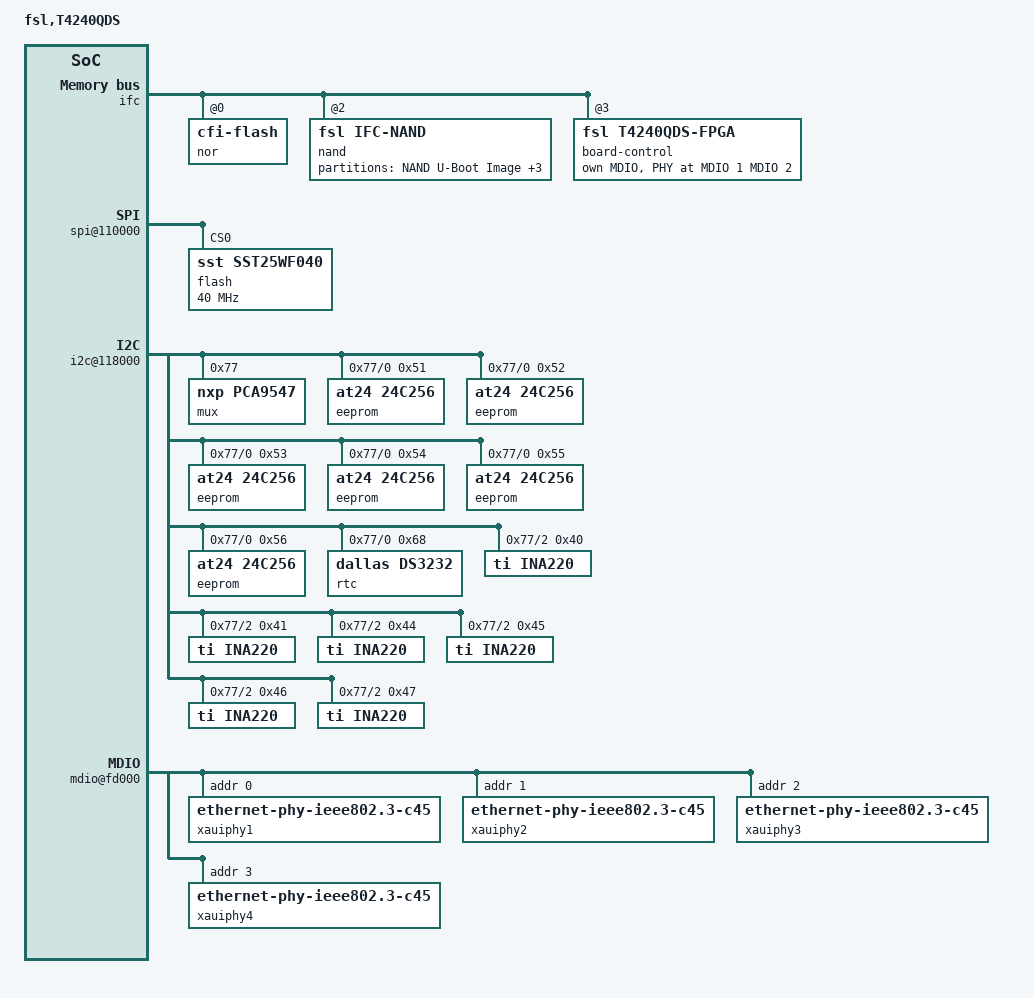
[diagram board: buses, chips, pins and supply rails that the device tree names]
/*
 * T4240QDS Device Tree Source
 *
 * Copyright 2012 - 2015 Freescale Semiconductor Inc.
 *
 * Redistribution and use in source and binary forms, with or without
 * modification, are permitted provided that the following conditions are met:
 *     * Redistributions of source code must retain the above copyright
 *       notice, this list of conditions and the following disclaimer.
 *     * Redistributions in binary form must reproduce the above copyright
 *       notice, this list of conditions and the following disclaimer in the
 *       documentation and/or other materials provided with the distribution.
 *     * Neither the name of Freescale Semiconductor nor the
 *       names of its contributors may be used to endorse or promote products
 *       derived from this software without specific prior written permission.
 *
 *
 * ALTERNATIVELY, this software may be distributed under the terms of the
 * GNU General Public License ("GPL") as published by the Free Software
 * Foundation, either version 2 of that License or (at your option) any
 * later version.
 *
 * THIS SOFTWARE IS PROVIDED BY Freescale Semiconductor ``AS IS'' AND ANY
 * EXPRESS OR IMPLIED WARRANTIES, INCLUDING, BUT NOT LIMITED TO, THE IMPLIED
 * WARRANTIES OF MERCHANTABILITY AND FITNESS FOR A PARTICULAR PURPOSE ARE
 * DISCLAIMED. IN NO EVENT SHALL Freescale Semiconductor BE LIABLE FOR ANY
 * DIRECT, INDIRECT, INCIDENTAL, SPECIAL, EXEMPLARY, OR CONSEQUENTIAL DAMAGES
 * (INCLUDING, BUT NOT LIMITED TO, PROCUREMENT OF SUBSTITUTE GOODS OR SERVICES;
 * LOSS OF USE, DATA, OR PROFITS; OR BUSINESS INTERRUPTION) HOWEVER CAUSED AND
 * ON ANY THEORY OF LIABILITY, WHETHER IN CONTRACT, STRICT LIABILITY, OR TORT
 * (INCLUDING NEGLIGENCE OR OTHERWISE) ARISING IN ANY WAY OUT OF THE USE OF THIS
 * SOFTWARE, EVEN IF ADVISED OF THE POSSIBILITY OF SUCH DAMAGE.
 */

/include/ "t4240si-pre.dtsi"

/ {
	model = "fsl,T4240QDS";
	compatible = "fsl,T4240QDS";
	#address-cells = <2>;
	#size-cells = <2>;
	interrupt-parent = <&mpic>;

	aliases{
		phy_rgmii1 = &phyrgmii1;
		phy_rgmii2 = &phyrgmii2;
		phy_sgmii3 = &phy3;
		phy_sgmii4 = &phy4;
		phy_sgmii11 = &phy11;
		phy_sgmii12 = &phy12;
		sgmii_phy11 = &sgmiiphy11;
		sgmii_phy12 = &sgmiiphy12;
		sgmii_phy13 = &sgmiiphy13;
		sgmii_phy14 = &sgmiiphy14;
		sgmii_phy21 = &sgmiiphy21;
		sgmii_phy22 = &sgmiiphy22;
		sgmii_phy23 = &sgmiiphy23;
		sgmii_phy24 = &sgmiiphy24;
		sgmii_phy31 = &sgmiiphy31;
		sgmii_phy32 = &sgmiiphy32;
		sgmii_phy33 = &sgmiiphy33;
		sgmii_phy34 = &sgmiiphy34;
		sgmii_phy41 = &sgmiiphy41;
		sgmii_phy42 = &sgmiiphy42;
		sgmii_phy43 = &sgmiiphy43;
		sgmii_phy44 = &sgmiiphy44;
		phy_xfi1 = &xfiphy1;
		phy_xfi2 = &xfiphy2;
		phy_xfi3 = &xfiphy3;
		phy_xfi4 = &xfiphy4;
		xfi_pcs_mdio1 = &xfimdio0;
		xfi_pcs_mdio2 = &xfimdio1;
		xfi_pcs_mdio3 = &xfimdio2;
		xfi_pcs_mdio4 = &xfimdio3;
		emi1_rgmii = &t4240mdio0;
		emi1_slot1 = &t4240mdio1;
		emi1_slot2 = &t4240mdio2;
		emi1_slot3 = &t4240mdio3;
		emi1_slot4 = &t4240mdio4;
	};

	ifc: localbus@ffe124000 {
		reg = <0xf 0xfe124000 0 0x2000>;
		ranges = <0 0 0xf 0xe8000000 0x08000000
			  2 0 0xf 0xff800000 0x00010000
			  3 0 0xf 0xffdf0000 0x00008000>;

		nor@0,0 {
			#address-cells = <1>;
			#size-cells = <1>;
			compatible = "cfi-flash";
			reg = <0x0 0x0 0x8000000>;

			bank-width = <2>;
			device-width = <1>;
		};

		nand@2,0 {
			#address-cells = <1>;
			#size-cells = <1>;
			compatible = "fsl,ifc-nand";
			reg = <0x2 0x0 0x10000>;

			partition@0 {
				/* This location must not be altered  */
				/* 1MB for u-boot Bootloader Image */
				reg = <0x0 0x00100000>;
				label = "NAND U-Boot Image";
				read-only;
			};

			partition@100000 {
				/* 1MB for DTB Image */
				reg = <0x00100000 0x00100000>;
				label = "NAND DTB Image";
			};

			partition@200000 {
				/* 10MB for Linux Kernel Image */
				reg = <0x00200000 0x00A00000>;
				label = "NAND Linux Kernel Image";
			};

			partition@C00000 {
				/* 500MB for Root file System Image */
				reg = <0x00c00000 0x1F400000>;
				label = "NAND RFS Image";
			};
		};

		board-control@3,0 {
			#address-cells = <1>;
			#size-cells = <1>;
			compatible = "fsl,t4240qds-fpga", "fsl,fpga-qixis";
			reg = <3 0 0x300>;
			ranges = <0 3 0 0x300>;

			mdio-mux-emi1 {
				#address-cells = <1>;
				#size-cells = <0>;
				compatible = "mdio-mux-mmioreg", "mdio-mux";
				mdio-parent-bus = <&mdio1>;
				reg = <0x54 1>;
				mux-mask = <0xe0>;

				t4240mdio0: mdio@0 {
					#address-cells = <1>;
					#size-cells = <0>;
					reg = <0>;

					phyrgmii1: ethernet-phy@1 {
						reg = <0x1>;
					};

					phyrgmii2: ethernet-phy@2 {
						reg = <0x2>;
					};
				};

				t4240mdio1: mdio@20 {
					#address-cells = <1>;
					#size-cells = <0>;
					reg = <0x20>;
					status = "disabled";

					phy1: ethernet-phy@0 {
						reg = <0x0>;
					};

					phy2: ethernet-phy@1 {
						reg = <0x1>;
					};

					phy3: ethernet-phy@2 {
						reg = <0x2>;
					};

					phy4: ethernet-phy@3 {
						reg = <0x3>;
					};

					sgmiiphy11: ethernet-phy@1c {
						reg = <0x1c>;
					};

					sgmiiphy12: ethernet-phy@1d {
						reg = <0x1d>;
					};

					sgmiiphy13: ethernet-phy@1e {
						reg = <0x1e>;
					};

					sgmiiphy14: ethernet-phy@1f {
						reg = <0x1f>;
					};
				};

				t4240mdio2: mdio@40 {
					#address-cells = <1>;
					#size-cells = <0>;
					reg = <0x40>;
					status = "disabled";

					phy5: ethernet-phy@4 {
						reg = <0x4>;
					};

					phy6: ethernet-phy@5 {
						reg = <0x5>;
					};

					phy7: ethernet-phy@6 {
						reg = <0x6>;
					};

					phy8: ethernet-phy@7 {
						reg = <0x7>;
					};

					sgmiiphy21: ethernet-phy@1c {
						reg = <0x1c>;
					};

					sgmiiphy22: ethernet-phy@1d {
						reg = <0x1d>;
					};

					sgmiiphy23: ethernet-phy@1e {
						reg = <0x1e>;
					};

					sgmiiphy24: ethernet-phy@1f {
						reg = <0x1f>;
					};
				};

				t4240mdio3: mdio@60 {
					#address-cells = <1>;
					#size-cells = <0>;
					reg = <0x60>;
					status = "disabled";

					phy9: ethernet-phy@8 {
						reg = <0x8>;
					};

					phy10: ethernet-phy@9 {
						reg = <0x9>;
					};

					phy11: ethernet-phy@a {
						reg = <0xa>;
					};

					phy12: ethernet-phy@b {
						reg = <0xb>;
					};

					sgmiiphy31: ethernet-phy@1c {
						reg = <0x1c>;
					};

					sgmiiphy32: ethernet-phy@1d {
						reg = <0x1d>;
					};

					sgmiiphy33: ethernet-phy@1e {
						reg = <0x1e>;
					};

					sgmiiphy34: ethernet-phy@1f {
						reg = <0x1f>;
					};
				};

				t4240mdio4: mdio@80 {
					#address-cells = <1>;
					#size-cells = <0>;
					reg = <0x80>;
					status = "disabled";

					phy13: ethernet-phy@c {
						reg = <0xc>;
					};

					phy14: ethernet-phy@d {
						reg = <0xd>;
					};

					phy15: ethernet-phy@e {
						reg = <0xe>;
					};

					phy16: ethernet-phy@f {
						reg = <0xf>;
					};

					sgmiiphy41: ethernet-phy@1c {
						reg = <0x1c>;
					};

					sgmiiphy42: ethernet-phy@1d {
						reg = <0x1d>;
					};

					sgmiiphy43: ethernet-phy@1e {
						reg = <0x1e>;
					};

					sgmiiphy44: ethernet-phy@1f {
						reg = <0x1f>;
					};
				};
			};
		};
	};

	memory {
		device_type = "memory";
	};

	reserved-memory {
		#address-cells = <2>;
		#size-cells = <2>;
		ranges;

		bman_fbpr: bman-fbpr {
			size = <0 0x1000000>;
			alignment = <0 0x1000000>;
		};
		qman_fqd: qman-fqd {
			size = <0 0x400000>;
			alignment = <0 0x400000>;
		};
		qman_pfdr: qman-pfdr {
			size = <0 0x2000000>;
			alignment = <0 0x2000000>;
		};
	};

	dcsr: dcsr@f00000000 {
		ranges = <0x00000000 0xf 0x00000000 0x01072000>;
	};

	bportals: bman-portals@ff4000000 {
		ranges = <0x0 0xf 0xf4000000 0x2000000>;
	};

	qportals: qman-portals@ff6000000 {
		ranges = <0x0 0xf 0xf6000000 0x2000000>;
	};

	soc: soc@ffe000000 {
		ranges = <0x00000000 0xf 0xfe000000 0x1000000>;
		reg = <0xf 0xfe000000 0 0x00001000>;
		spi@110000 {
			flash@0 {
				#address-cells = <1>;
				#size-cells = <1>;
				compatible = "sst,sst25wf040", "jedec,spi-nor";
				reg = <0>;
				spi-max-frequency = <40000000>; /* input clock */
			};
		};

		i2c@118000 {
			mux@77 {
				compatible = "nxp,pca9547";
				reg = <0x77>;
				#address-cells = <1>;
				#size-cells = <0>;

				i2c@0 {
					#address-cells = <1>;
					#size-cells = <0>;
					reg = <0>;

					eeprom@51 {
						compatible = "at24,24c256";
						reg = <0x51>;
					};
					eeprom@52 {
						compatible = "at24,24c256";
						reg = <0x52>;
					};
					eeprom@53 {
						compatible = "at24,24c256";
						reg = <0x53>;
					};
					eeprom@54 {
						compatible = "at24,24c256";
						reg = <0x54>;
					};
					eeprom@55 {
						compatible = "at24,24c256";
						reg = <0x55>;
					};
					eeprom@56 {
						compatible = "at24,24c256";
						reg = <0x56>;
					};
					rtc@68 {
						compatible = "dallas,ds3232";
						reg = <0x68>;
						interrupts = <0x1 0x1 0 0>;
					};
				};

				i2c@2 {
					#address-cells = <1>;
					#size-cells = <0>;
					reg = <0x2>;

					ina220@40 {
						compatible = "ti,ina220";
						reg = <0x40>;
						shunt-resistor = <1000>;
					};

					ina220@41 {
						compatible = "ti,ina220";
						reg = <0x41>;
						shunt-resistor = <1000>;
					};

					ina220@44 {
						compatible = "ti,ina220";
						reg = <0x44>;
						shunt-resistor = <1000>;
					};

					ina220@45 {
						compatible = "ti,ina220";
						reg = <0x45>;
						shunt-resistor = <1000>;
					};

					ina220@46 {
						compatible = "ti,ina220";
						reg = <0x46>;
						shunt-resistor = <1000>;
					};

					ina220@47 {
						compatible = "ti,ina220";
						reg = <0x47>;
						shunt-resistor = <1000>;
					};
				};
			};
		};

		sdhc@114000 {
			voltage-ranges = <1800 1800 3300 3300>;
		};

		fman@400000 {
			port@83000 {
				status = "disabled";
			};

			port@84000 {
				status = "disabled";
			};

			port@85000 {
				status = "disabled";
			};

			port@86000 {
				status = "disabled";
			};

			port@87000 {
				status = "disabled";
			};

			ethernet@e0000 {
				phy-handle = <&phy5>;
				phy-connection-type = "sgmii";
			};

			ethernet@e2000 {
				phy-handle = <&phy6>;
				phy-connection-type = "sgmii";
			};

			ethernet@e4000 {
				phy-handle = <&phy7>;
				phy-connection-type = "sgmii";
			};

			ethernet@e6000 {
				phy-handle = <&phy8>;
				phy-connection-type = "sgmii";
			};

			ethernet@e8000 {
				phy-handle = <&phyrgmii2>;
				phy-connection-type = "rgmii";
			};

			ethernet@ea000 {
				phy-handle = <&phy2>;
				phy-connection-type = "sgmii";
			};

			ethernet@f0000 {
				phy-handle = <&xauiphy1>;
				phy-connection-type = "xgmii";
			};

			ethernet@f2000 {
				phy-handle = <&xauiphy2>;
				phy-connection-type = "xgmii";
			};

			xfimdio0: mdio@f1000 {
				status = "disabled";

				xfiphy1: ethernet-phy@0 {
					compatible = "ethernet-phy-ieee802.3-c45";
					reg = <0x0>;
				};
			};

			xfimdio1: mdio@f3000 {
				status = "disabled";

				xfiphy2: ethernet-phy@0 {
					compatible = "ethernet-phy-ieee802.3-c45";
					reg = <0x0>;
				};
			};
		};

		fman@500000 {
			port@84000 {
				status = "disabled";
			};

			port@85000 {
				status = "disabled";
			};

			port@86000 {
				status = "disabled";
			};

			port@87000 {
				status = "disabled";
			};

			ethernet@e0000 {
				phy-handle = <&phy13>;
				phy-connection-type = "sgmii";
			};

			ethernet@e2000 {
				phy-handle = <&phy14>;
				phy-connection-type = "sgmii";
			};

			ethernet@e4000 {
				phy-handle = <&phy15>;
				phy-connection-type = "sgmii";
			};

			ethernet@e6000 {
				phy-handle = <&phy16>;
				phy-connection-type = "sgmii";
			};

			ethernet@e8000 {
				phy-handle = <&phyrgmii1>;
				phy-connection-type = "rgmii";
			};

			ethernet@ea000 {
				phy-handle = <&phy10>;
				phy-connection-type = "sgmii";
			};

			ethernet@f0000 {
				phy-handle = <&xauiphy3>;
				phy-connection-type = "xgmii";
			};

			ethernet@f2000 {
				phy-handle = <&xauiphy4>;
				phy-connection-type = "xgmii";
			};

			xfimdio2: mdio@f1000 {
				status = "disabled";

				xfiphy3: ethernet-phy@0 {
					compatible = "ethernet-phy-ieee802.3-c45";
					reg = <0x0>;
				};
			};

			xfimdio3: mdio@f3000 {
				status = "disabled";

				xfiphy4: ethernet-phy@0 {
					compatible = "ethernet-phy-ieee802.3-c45";
					reg = <0x0>;
				};
			};

			mdio@fd000 {
				xauiphy1: ethernet-phy@0 {
					compatible = "ethernet-phy-ieee802.3-c45";
					reg = <0x0>;
				};

				xauiphy2: ethernet-phy@1 {
					compatible = "ethernet-phy-ieee802.3-c45";
					reg = <0x1>;
				};

				xauiphy3: ethernet-phy@2 {
					compatible = "ethernet-phy-ieee802.3-c45";
					reg = <0x2>;
				};

				xauiphy4: ethernet-phy@3 {
					compatible = "ethernet-phy-ieee802.3-c45";
					reg = <0x3>;
				};
			};
		};
	};

	pci0: pcie@ffe240000 {
		reg = <0xf 0xfe240000 0 0x10000>;
		ranges = <0x02000000 0 0xe0000000 0xc 0x00000000 0x0 0x20000000
			  0x01000000 0 0x00000000 0xf 0xf8000000 0x0 0x00010000>;
		pcie@0 {
			ranges = <0x02000000 0 0xe0000000
				  0x02000000 0 0xe0000000
				  0 0x20000000

				  0x01000000 0 0x00000000
				  0x01000000 0 0x00000000
				  0 0x00010000>;
		};
	};

	pci1: pcie@ffe250000 {
		reg = <0xf 0xfe250000 0 0x10000>;
		ranges = <0x02000000 0x0 0xe0000000 0xc 0x20000000 0x0 0x20000000
			  0x01000000 0x0 0x00000000 0xf 0xf8010000 0x0 0x00010000>;
		pcie@0 {
			ranges = <0x02000000 0 0xe0000000
				  0x02000000 0 0xe0000000
				  0 0x20000000

				  0x01000000 0 0x00000000
				  0x01000000 0 0x00000000
				  0 0x00010000>;
		};
	};

	pci2: pcie@ffe260000 {
		reg = <0xf 0xfe260000 0 0x1000>;
		ranges = <0x02000000 0 0xe0000000 0xc 0x40000000 0 0x20000000
			  0x01000000 0 0x00000000 0xf 0xf8020000 0 0x00010000>;
		pcie@0 {
			ranges = <0x02000000 0 0xe0000000
				  0x02000000 0 0xe0000000
				  0 0x20000000

				  0x01000000 0 0x00000000
				  0x01000000 0 0x00000000
				  0 0x00010000>;
		};
	};

	pci3: pcie@ffe270000 {
		reg = <0xf 0xfe270000 0 0x10000>;
		ranges = <0x02000000 0 0xe0000000 0xc 0x60000000 0 0x20000000
			  0x01000000 0 0x00000000 0xf 0xf8030000 0 0x00010000>;
		pcie@0 {
			ranges = <0x02000000 0 0xe0000000
				  0x02000000 0 0xe0000000
				  0 0x20000000

				  0x01000000 0 0x00000000
				  0x01000000 0 0x00000000
				  0 0x00010000>;
		};
	};
	rio: rapidio@ffe0c0000 {
		reg = <0xf 0xfe0c0000 0 0x11000>;

		port1 {
			ranges = <0 0 0xc 0x20000000 0 0x10000000>;
		};
		port2 {
			ranges = <0 0 0xc 0x30000000 0 0x10000000>;
		};
	};
};

/include/ "t4240si-post.dtsi"
